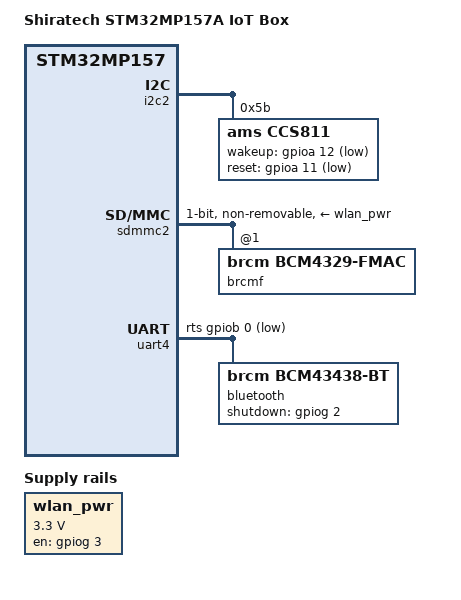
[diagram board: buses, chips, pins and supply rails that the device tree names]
// SPDX-License-Identifier: (GPL-2.0+ OR MIT)
/*
 * Copyright (C) 2020 Manivannan Sadhasivam
 */

/dts-v1/;
#include "stm32mp157a-stinger96.dtsi"

/ {
	model = "Shiratech STM32MP157A IoT Box";
	compatible = "shiratech,stm32mp157a-iot-box", "st,stm32mp157";

	wlan_pwr: regulator-wlan {
		compatible = "regulator-fixed";

		regulator-name = "wl-reg";
		regulator-min-microvolt = <3300000>;
		regulator-max-microvolt = <3300000>;

		gpios = <&gpiog 3 GPIO_ACTIVE_HIGH>;
		enable-active-high;
	};
};

&i2c2 {
	ccs811@5b {
		compatible = "ams,ccs811";
		reg = <0x5b>;
		wakeup-gpios = <&gpioa 12 GPIO_ACTIVE_LOW>;
		reset-gpios = <&gpioa 11 GPIO_ACTIVE_LOW>;
	};
};

/* WiFi */
&sdmmc2 {
	pinctrl-names = "default", "opendrain", "sleep";
	pinctrl-0 = <&sdmmc2_b4_pins_a>;
	pinctrl-1 = <&sdmmc2_b4_od_pins_b>;
	pinctrl-2 = <&sdmmc2_b4_sleep_pins_a>;
	broken-cd;
	non-removable;
	st,neg-edge;
	bus-width = <1>;
	vmmc-supply = <&wlan_pwr>;
	status = "okay";

	#address-cells = <1>;
	#size-cells = <0>;
	brcmf: wifi@1 {
		reg = <1>;
		compatible = "brcm,bcm4329-fmac";
	};
};

/* Bluetooth */
&uart4 {
	/* Note: HW flow control is broken, hence using custom CTS/RTS gpios */
	/delete-property/st,hw-flow-ctrl;
	cts-gpios = <&gpioa 15 GPIO_ACTIVE_LOW>;
	rts-gpios = <&gpiob 0 GPIO_ACTIVE_LOW>;
	/delete-property/dmas;
	/delete-property/dma-names;
	status = "okay";

	bluetooth {
		shutdown-gpios = <&gpiog 2 GPIO_ACTIVE_HIGH>;
		compatible = "brcm,bcm43438-bt";
		max-speed = <115200>;
	};
};
